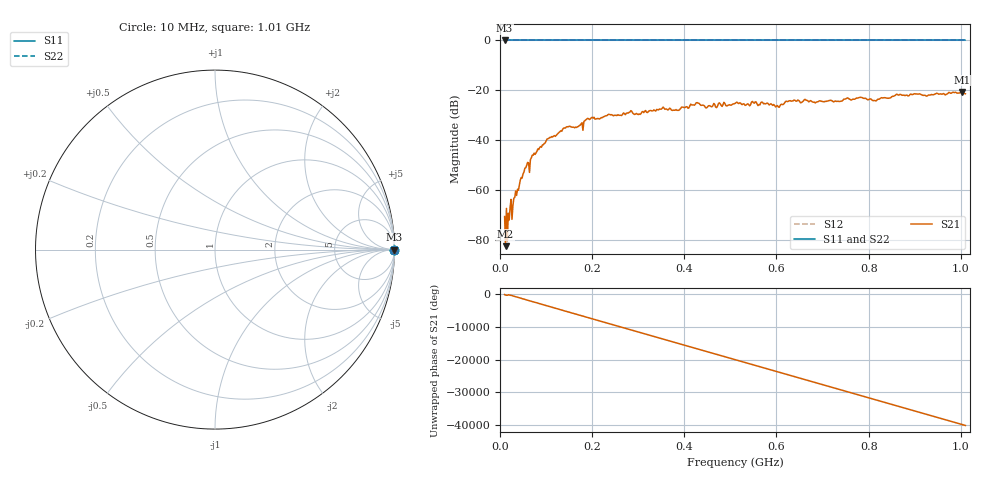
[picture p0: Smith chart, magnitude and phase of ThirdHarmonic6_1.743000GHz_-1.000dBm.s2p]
! 8/16/2025 9:01:05 PM
! C:\ANRITSUVNA\TEMP\TEMP.S2P
! CHANNEL.1
! TR.MEASUREMENT
! RAW.DATA
! RF.CORRECTION.OFF
! AVERAGING.OFF
! IF.BANDWIDTH: 5KHZ
! SWEEPTYPE:  FREQ.SWEEP(Linear)
! Reference Plane Port Info
! PORT:  PORT1  PORT2
! DISTANCE:  0  m  0  m
! TIME:  0  s  0  s
! PHASE.OFFSET:  0  deg.  0  deg.
! LOSS:  0  dB  0  dB
! REF.LOSS:  0  dB  0  dB
! REF.FREQ:  0  Hz  0  Hz
! Power Info
! POWER:  -20  dBm  -20  dBm
! EFF.POWER:  -20  dBm  -20  dBm
! SOURCE.ATTEN:  0  dB  0  dB
! TEST.ATTEN:  0  dB  0  dB
# GHZ S RI R 50.0
! FREQ.GHZ  S11RE  S11IM  S21RE  S21IM  S12RE  S12IM  S22RE  S22IM
!; PortSelection: Port_12
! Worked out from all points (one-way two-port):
!   501 points, 10 MHz to 1.01 GHz, reference 50 ohm
!   highest |S21| = -20.61 dB at 1.002 GHz (marker M1); lowest = -82.3 dB at 12 MHz (marker M2)
!   lowest |S11| = 0.0 dB at 10 MHz (marker M3)
!   |S11| at or under -10 dB: nowhere
!   |S22| runs from 0.0 to 0.0 dB; largest |S21 - S12| = 1.1
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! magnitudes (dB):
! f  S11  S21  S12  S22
! 10 MHz  0.0  -70.4  0.0  0.0
! 12 MHz  0.0  -82.3  0.0  0.0
! 16 MHz  0.0  -80.1  0.0  0.0
! 22 MHz  0.0  -66.5  0.0  0.0
! 50 MHz  0.0  -53.4  0.0  0.0
! 70 MHz  0.0  -45.9  0.0  0.0
! 104 MHz  0.0  -39.3  0.0  0.0
! 140 MHz  0.0  -35.0  0.0  0.0
! 178 MHz  0.0  -32.9  0.0  0.0
! 200 MHz  0.0  -30.7  0.0  0.0
! 344 MHz  0.0  -27.8  0.0  0.0
! 386 MHz  0.0  -28.0  0.0  0.0
! 428 MHz  0.0  -24.9  0.0  0.0
! 448 MHz  0.0  -27.0  0.0  0.0
! 510 MHz  0.0  -25.2  0.0  0.0
! 602 MHz  0.0  -26.0  0.0  0.0
! 626 MHz  0.0  -24.3  0.0  0.0
! 678 MHz  0.0  -24.6  0.0  0.0
! 844 MHz  0.0  -23.1  0.0  0.0
! 864 MHz  0.0  -21.8  0.0  0.0
! 1.002 GHz  0.0  -20.6  0.0  0.0
! 1.01 GHz  0.0  -21.3  0.0  0.0
